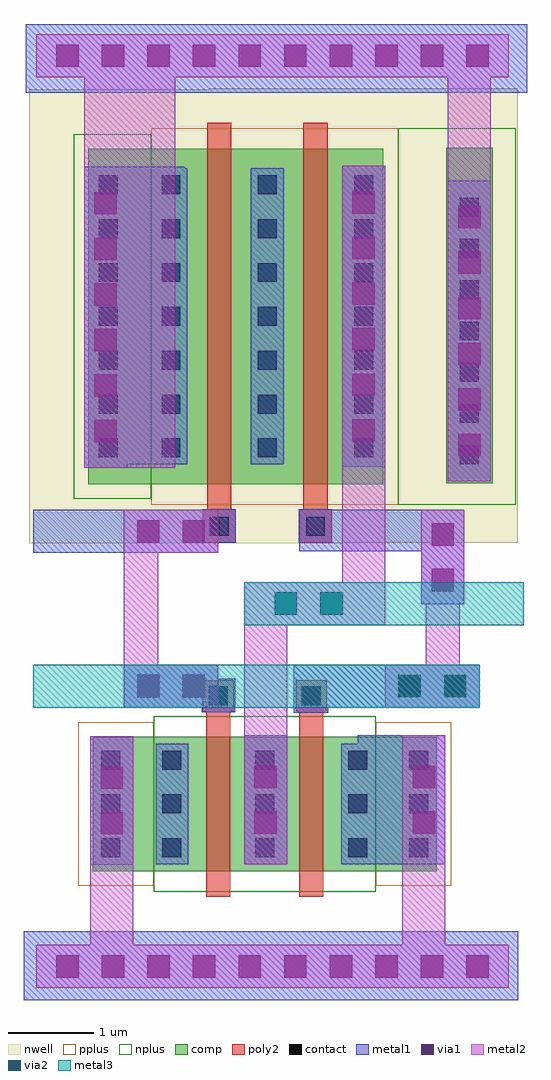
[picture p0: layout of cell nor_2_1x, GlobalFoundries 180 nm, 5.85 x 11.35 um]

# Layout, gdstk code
from math import pi, radians
import gdstk
lib = gdstk.Library(unit=1e-6, precision=1e-09)
def R(c, l, rs):  # rectangles x0, y0, x1, y1
    for r in rs: c.add(gdstk.rectangle(r[:2], r[2:], *l))
def A(c, l, x, y, w, h, nx, ny, dx, dy):  # array of equal rectangles
    R(c, l, [(x+i*dx, y+j*dy, x+i*dx+w, y+j*dy+h) for i in range(nx) for j in range(ny)])
def P(c, l, *ps):  # polygons
    for p in ps: c.add(gdstk.Polygon(p, *l))
nwell = (21, 0)
comp = (22, 0)
poly2 = (30, 0)
pplus = (31, 0)
nplus = (32, 0)
contact = (33, 0)
metal1 = (34, 0)
via1 = (35, 0)
metal2 = (36, 0)
via2 = (38, 0)
metal3 = (42, 0)

pfet = lib.new_cell('pfet')
R(pfet, nwell, [(-1.15,-0.69,2.54,4.59)])
R(pfet, comp, [(-0.46,0,0,3.9), (0,0,0.66,3.9), (0.66,0,1.12,3.9), (1.12,0,1.85,3.9)])
R(pfet, poly2, [(0.14,-0.68,0.52,-0.3), (0.19,-0.3,0.47,4.2)])
R(pfet, pplus, [(-0.63,-0.24,1.12,4.14)])
R(pfet, nplus, [(1.12,-0.17,2.02,4.07)])
A(pfet, contact, -0.34, 0.31, 0.22, 0.22, 1, 7, 0, 0.51)
A(pfet, contact, 0.78, 0.31, 0.22, 0.22, 1, 7, 0, 0.51)
A(pfet, contact, 1.51, 0.31, 0.22, 0.22, 1, 7, 0, 0.51)
R(pfet, contact, [(0.22,-0.6,0.44,-0.38)])
R(pfet, metal1, [(0.14,-0.681,0.52,-0.299), (-0.42,0.23,-0.04,3.67), (0.7,0.23,1.08,3.67), (1.43,0.23,1.81,3.67)])

nfet = lib.new_cell('nfet')
R(nfet, comp, [(-0.42,0,0,1.56), (0,0,0.66,1.56), (0.66,0,1.08,1.56), (1.08,0,1.79,1.56)])
R(nfet, poly2, [(0.19,-0.3,0.47,1.86), (0.15,1.86,0.51,2.22)])
R(nfet, pplus, [(1.08,-0.17,1.96,1.73)])
R(nfet, nplus, [(-0.59,-0.24,1.08,1.8)])
A(nfet, contact, -0.32, 0.16, 0.22, 0.22, 1, 3, 0, 0.51)
A(nfet, contact, 0.76, 0.16, 0.22, 0.22, 1, 3, 0, 0.51)
A(nfet, contact, 1.47, 0.16, 0.22, 0.22, 1, 3, 0, 0.51)
R(nfet, contact, [(0.22,1.93,0.44,2.15)])
R(nfet, metal1, [(-0.4,0.08,-0.02,1.48), (0.68,0.08,1.06,1.48), (1.39,0.08,1.77,1.48), (0.14,1.849,0.52,2.231)])

via_dev_1 = lib.new_cell('via_dev$1')
R(via_dev_1, metal1, [(0,0,0.5,3.5)])
A(via_dev_1, via1, 0.12, 0.295, 0.26, 0.26, 1, 6, 0, 0.53)
R(via_dev_1, metal2, [(0,0,0.5,3.5)])

via_dev_3 = lib.new_cell('via_dev$3')
R(via_dev_3, metal1, [(0,0,5.5,0.5)])
A(via_dev_3, via1, 0.235, 0.12, 0.26, 0.26, 10, 1, 0.53, 0)
R(via_dev_3, metal2, [(0,0,5.5,0.5)])

via_dev = lib.new_cell('via_dev')
R(via_dev, metal1, [(0,0,0.5,1.5)])
R(via_dev, via1, [(0.12,0.355,0.38,0.615), (0.12,0.885,0.38,1.145)])
R(via_dev, metal2, [(0,0,0.5,1.5)])

via_dev_5 = lib.new_cell('via_dev$5')
R(via_dev_5, comp, [(0,0,0.5,3.5)])
A(via_dev_5, contact, 0.14, 0.2, 0.22, 0.22, 1, 7, 0, 0.48)
R(via_dev_5, metal1, [(0,0,0.5,3.5)])

pfet_1 = lib.new_cell('pfet$1')
R(pfet_1, nwell, [(-0.9,-0.44,1.56,4.34)])
R(pfet_1, comp, [(-0.46,0,0,3.9), (0,0,0.66,3.9), (0.66,0,1.12,3.9)])
R(pfet_1, poly2, [(0.14,-0.68,0.52,-0.3), (0.19,-0.3,0.47,4.2)])
R(pfet_1, pplus, [(-0.63,-0.24,1.29,4.14)])
A(pfet_1, contact, -0.34, 0.31, 0.22, 0.22, 1, 7, 0, 0.51)
A(pfet_1, contact, 0.78, 0.31, 0.22, 0.22, 1, 7, 0, 0.51)
R(pfet_1, contact, [(0.22,-0.6,0.44,-0.38)])
R(pfet_1, metal1, [(0.14,-0.681,0.52,-0.299), (-0.42,0.23,-0.04,3.67), (0.7,0.23,1.08,3.67)])

via_dev_4 = lib.new_cell('via_dev$4')
R(via_dev_4, metal1, [(0,0,1.1,0.5)])
R(via_dev_4, via1, [(0.155,0.12,0.415,0.38), (0.685,0.12,0.945,0.38)])
R(via_dev_4, metal2, [(0,0,1.1,0.5)])

via_dev_8 = lib.new_cell('via_dev$8')
R(via_dev_8, metal1, [(0,0,0.5,1.1)])
R(via_dev_8, via1, [(0.12,0.155,0.38,0.415), (0.12,0.685,0.38,0.945)])
R(via_dev_8, metal2, [(0,0,0.5,1.1)])

via_dev_10 = lib.new_cell('via_dev$10')
R(via_dev_10, metal2, [(0,0,1.5,0.5)])
R(via_dev_10, via2, [(0.355,0.12,0.615,0.38), (0.885,0.12,1.145,0.38)])
R(via_dev_10, metal3, [(0,0,1.5,0.5)])

via_dev_12 = lib.new_cell('via_dev$12')
R(via_dev_12, metal1, [(0,0,1.1,0.5)])
R(via_dev_12, via1, [(0.155,0.12,0.415,0.38), (0.685,0.12,0.945,0.38)])
R(via_dev_12, metal2, [(0,0,1.1,0.5)])
R(via_dev_12, via2, [(0.155,0.12,0.415,0.38), (0.685,0.12,0.945,0.38)])
R(via_dev_12, metal3, [(0,0,1.1,0.5)])

nor_2_1x = lib.new_cell('nor_2_1x')
R(nor_2_1x, nwell, [(1.56,-2.68,4,2.6), (4,-2.68,5.14,2.6)])
R(nor_2_1x, comp, [(4.31,-1.99,4.85,1.91)])
P(nor_2_1x, nplus, [(3.75,-2.24),(3.75,2.14),(5.12,2.14),(5.12,-2.24),(3.98,-2.24)])
R(nor_2_1x, metal1, [(-0.6,-8,5.15,-7.2), (3.28,-6.42,4.031,-4.92), (2.54,-4.66,2.94,-4.26), (1.465,-4.655,1.855,-4.265), (1.468,-4.652,1.851,-4.268), (2.54,-4.6,4.47,-4.1), (1.47,-4.27,1.482,-4.268), (-0.49,-2.8,0.62,-2.3), (2.6,-2.78,4.47,-2.3), (1.475,-2.685,1.862,-2.298), (1.862,-2.685,1.865,-2.295), (2.595,-2.685,2.985,-2.295), (1.48,-2.639,1.86,-2.638), (1.475,-2.3,1.864,-2.295), (0.12,-1.77,1.27,1.69), (-0.58,2.55,5.25,3.35)])
P(nor_2_1x, metal1, [(1.48,-4.64),(1.48,-4.64),(1.86,-4.64),(1.86,-4.64)],
  [(1.48,-2.3),(1.48,-2.3),(1.86,-2.3),(1.86,-2.3)])
R(nor_2_1x, metal2, [(3.8,-7.45,4.3,-6.42), (0.17,-7.4,0.67,-6.37), (1.96,-4.93,2.46,-3.53), (0.56,-4.6,0.96,-2.8), (4.07,-4.6,4.47,-2.3), (3.1,-3.64,3.6,-1.8), (0.1,-1.81,1.16,3.21), (4.33,1.53,4.83,2.75)])
R(nor_2_1x, metal3, [(-0.49,-4.6,4.47,-4.1), (1.96,-3.64,5.21,-3.14)])
nor_2_1x.add(gdstk.Reference(pfet, (2,-2), rotation=pi, x_reflection=True))
nor_2_1x.add(gdstk.Reference(nfet, (2.41,-6.5)))
nor_2_1x.add(gdstk.Reference(nfet, (1.99,-6.5), rotation=pi, x_reflection=True))
nor_2_1x.add(gdstk.Reference(via_dev_1, (0.1,-1.81)))
nor_2_1x.add(gdstk.Reference(via_dev_3, (-0.46,-7.86)))
nor_2_1x.add(gdstk.Reference(via_dev_3, (-0.46,2.73)))
nor_2_1x.add(gdstk.Reference(via_dev, (0.17,-6.43)))
nor_2_1x.add(gdstk.Reference(via_dev, (3.8,-6.42)))
nor_2_1x.add(gdstk.Reference(via_dev_5, (4.33,-1.97)))
nor_2_1x.add(gdstk.Reference(pfet_1, (3.12,-2), rotation=pi, x_reflection=True))
nor_2_1x.add(gdstk.Reference(via_dev_1, (4.33,-1.97)))
nor_2_1x.add(gdstk.Reference(via_dev, (1.96,-6.42)))
nor_2_1x.add(gdstk.Reference(via_dev_4, (0.56,-4.6)))
nor_2_1x.add(gdstk.Reference(via_dev_4, (0.56,-2.8)))
nor_2_1x.add(gdstk.Reference(via_dev_1, (3.1,-1.8)))
nor_2_1x.add(gdstk.Reference(via_dev_8, (4.02,-3.4)))
nor_2_1x.add(gdstk.Reference(via_dev_10, (1.96,-3.64)))
nor_2_1x.add(gdstk.Reference(via_dev_12, (3.6,-4.6)))

lib.write_gds('nor_2_1x.gds')
